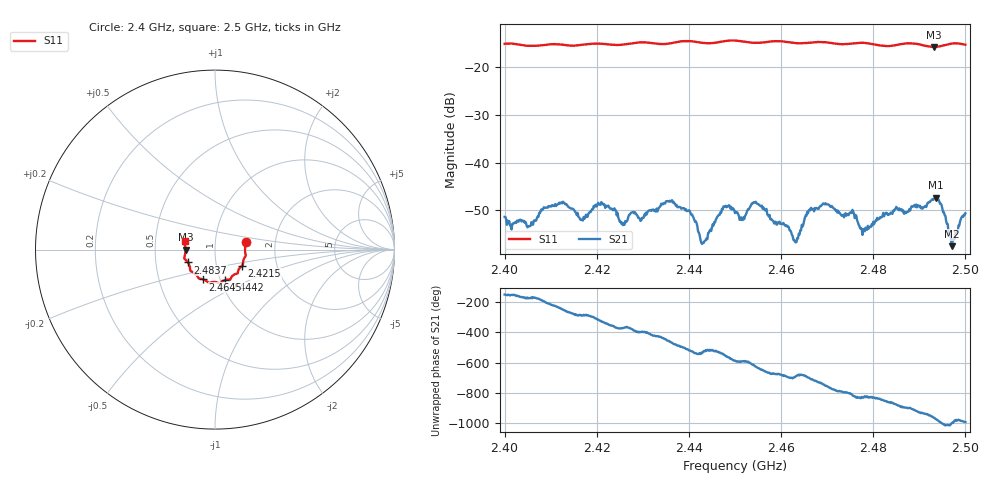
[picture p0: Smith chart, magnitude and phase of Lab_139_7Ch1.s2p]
# Hz S RI R 50
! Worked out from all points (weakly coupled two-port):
!   601 points, 2.4 GHz to 2.5 GHz, reference 50 ohm
!   highest |S21| = -47.38 dB at 2.4937 GHz (marker M1); lowest = -57.6 dB at 2.497 GHz (marker M2)
!   lowest |S11| = -15.7 dB at 2.4932 GHz (marker M3), VSWR 1.39, Z = 35.9 - j0.0597 ohm
!   |S11| at or under -10 dB: start of sweep to end of sweep
!   S12 and S22 are empty: the file has one direction only
!   S11 on the Smith chart (normalised r, x): 2.4 GHz: 1.41, +0.12; 2.4215 GHz: 1.33, -0.25; 2.4442 GHz: 1.05, -0.37; 2.4645 GHz: 0.83, -0.29; 2.4837 GHz: 0.73, -0.11; 2.5 GHz: 0.71, +0.07
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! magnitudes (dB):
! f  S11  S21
! 2.4 GHz  -15.1  -51.4
! 2.4053 GHz  -15.5  -53.4
! 2.4123 GHz  -15.2  -48.4
! 2.4167 GHz  -15.3  -52.0
! 2.4215 GHz  -15.1  -48.9
! 2.4255 GHz  -15.3  -52.6
! 2.4333 GHz  -15.1  -49.8
! 2.4363 GHz  -14.9  -47.9
! 2.4442 GHz  -15.0  -54.8
! 2.4477 GHz  -14.5  -49.3
! 2.45 GHz  -14.4  -50.6
! 2.4547 GHz  -14.9  -48.5
! 2.4632 GHz  -14.9  -56.8
! 2.4645 GHz  -15.0  -53.1
! 2.4667 GHz  -14.8  -49.8
! 2.4777 GHz  -14.9  -55.2
! 2.4833 GHz  -15.6  -50.8
! 2.4837 GHz  -15.5  -50.7
! 2.4932 GHz  -15.7  -47.6
! 2.4937 GHz  -15.7  -47.4
! 2.497 GHz  -15.0  -57.6
! 2.5 GHz  -15.3  -50.7
